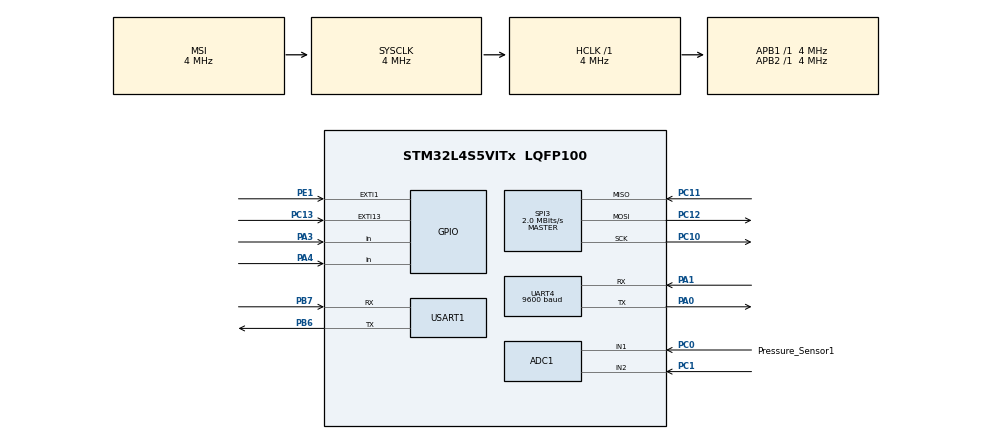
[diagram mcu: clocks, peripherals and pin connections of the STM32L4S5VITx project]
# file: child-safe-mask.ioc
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ADC1.Channel-0\#ChannelRegularConversion=ADC_CHANNEL_1
ADC1.NbrOfConversionFlag=1
ADC1.OffsetNumber-0\#ChannelRegularConversion=ADC_OFFSET_NONE
ADC1.Rank-0\#ChannelRegularConversion=1
ADC1.SamplingTime-0\#ChannelRegularConversion=ADC_SAMPLETIME_2CYCLES_5
ADC1.SingleDiff-0\#ChannelRegularConversion=ADC_DIFFERENTIAL_ENDED
ADC1.master=1
Mcu.Family=STM32L4
Mcu.Name=STM32L4S5VITx
Mcu.Package=LQFP100
NVIC.EXTI15_10_IRQn=true\:0\:0\:false\:false\:true\:true\:true
NVIC.EXTI1_IRQn=true\:0\:0\:false\:false\:true\:true\:true
NVIC.PriorityGroup=NVIC_PRIORITYGROUP_4
NVIC.SPI3_IRQn=true\:0\:0\:false\:false\:true\:true\:true
NVIC.UART4_IRQn=true\:0\:0\:false\:false\:true\:true\:true
PA0.Mode=Asynchronous
PA0.Signal=UART4_TX
PA1.Mode=Asynchronous
PA1.Signal=UART4_RX
PA3.Signal=GPIO_Input
PA4.Signal=GPIO_Input
PB6.Mode=Asynchronous
PB6.Signal=USART1_TX
PB7.Mode=Asynchronous
PB7.Signal=USART1_RX
PC0.GPIO_Label=Pressure_Sensor1
PC0.Signal=SharedAnalog_PC0
PC1.Signal=ADCx_IN2
PC10.Mode=Full_Duplex_Master
PC10.Signal=SPI3_SCK
PC11.Mode=Full_Duplex_Master
PC11.Signal=SPI3_MISO
PC12.Mode=Full_Duplex_Master
PC12.Signal=SPI3_MOSI
PC13.Signal=GPXTI13
PE1.Signal=GPXTI1
ProjectManager.HeapSize=0x200
ProjectManager.StackSize=0x400
ProjectManager.TargetToolchain=STM32CubeIDE
RCC.ADCFreq_Value=32000000
RCC.AHBFreq_Value=4000000
RCC.APB1Freq_Value=4000000
RCC.APB1TimFreq_Value=4000000
RCC.APB2Freq_Value=4000000
RCC.APB2TimFreq_Value=4000000
RCC.CortexFreq_Value=4000000
RCC.HCLKFreq_Value=4000000
RCC.HSE_VALUE=8000000
RCC.HSI48_VALUE=48000000
RCC.HSI_VALUE=16000000
RCC.LSE_VALUE=32768
RCC.MSI_VALUE=4000000
RCC.PLLN=16
RCC.PLLSAI1N=16
RCC.SYSCLKFreq_VALUE=4000000
RCC.USBFreq_Value=32000000
RCC.VCOOutputFreq_Value=64000000
SH.ADCx_IN2.0=ADC1_IN2,IN1-Differential
SH.SharedAnalog_PC0.0=GPIO_Analog
SH.SharedAnalog_PC0.1=ADC1_IN1,IN1-Differential
SPI3.BaudRatePrescaler=SPI_BAUDRATEPRESCALER_2
SPI3.CalculateBaudRate=2.0 MBits/s
SPI3.Direction=SPI_DIRECTION_2LINES
SPI3.Mode=SPI_MODE_MASTER
SPI3.VirtualType=VM_MASTER
UART4.BaudRate=9600
USART1.VirtualMode-Asynchronous=VM_ASYNC
board=custom

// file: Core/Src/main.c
/* USER CODE BEGIN Header */
/**
  ******************************************************************************
  * @file           : main.c
  * @brief          : Main program body
  ******************************************************************************
  * @attention
  *
  * <h2><center>&copy; Copyright (c) 2020 STMicroelectronics.
  * All rights reserved.</center></h2>
  *
  * This software component is licensed by ST under BSD 3-Clause license,
  * the "License"; You may not use this file except in compliance with the
  * License. You may obtain a copy of the License at:
  *                        opensource.org/licenses/BSD-3-Clause
  *
  ******************************************************************************
  */
/* USER CODE END Header */
#include "main.h"

/* USER CODE BEGIN Includes */
#include <stdio.h>
#include <math.h>
#include <string.h>
#include "PMSa003.h"
#include "web_client.h"
#include "user.h"
/* USER CODE END Includes */

/* USER CODE BEGIN PD */
#if !defined (TERMINAL_USE)
#define TERMINAL_USE
#endif

/* USER CODE END PD */

ADC_HandleTypeDef hadc1;

SPI_HandleTypeDef hspi3;

UART_HandleTypeDef huart4;
UART_HandleTypeDef huart1;

/* USER CODE BEGIN PV */
#if defined (TERMINAL_USE)
extern UART_HandleTypeDef hDiscoUart;
#endif /* TERMINAL_USE */
static uint8_t RxData [500];
int btn1=0;
int btn2=0;
/* USER CODE END PV */

void SystemClock_Config(void);
static void MX_GPIO_Init(void);
static void MX_SPI3_Init(void);
static void MX_USART1_UART_Init(void);
static void MX_UART4_Init(void);
static void MX_ADC1_Init(void);
/* USER CODE BEGIN PFP */

int __io_putchar(int ch)
{
	while(HAL_OK!=HAL_UART_Transmit(&huart1,(uint8_t*) &ch,1,30000))
	{
	}
	return ch;
}
int __io_getchar(void)
{
	uint8_t ch=0;
	while(HAL_OK!=HAL_UART_Receive(&huart1,(uint8_t*) &ch,1,30000))
	{
	}
	return ch;
}
//
//#if defined (TERMINAL_USE)
//#ifdef __GNUC__
///* With GCC, small TERMOUT (option LD Linker->Libraries->Small TERMOUT
//   set to 'Yes') calls __io_putchar() */
//#define PUTCHAR_PROTOTYPE int __io_putchar(int ch)
//#else
//#define PUTCHAR_PROTOTYPE int fputc(int ch, FILE *f)
//#endif /* __GNUC__ */
//#endif /* TERMINAL_USE */
/* USER CODE END PFP */

int main(void)
{
  /* USER CODE BEGIN 1 */
  uint8_t * TxData;
  int32_t Socket = -1;
  int32_t ret;
  /* USER CODE END 1 */

  /* MCU Configuration--------------------------------------------------------*/

  /* Reset of all peripherals, Initializes the Flash interface and the Systick. */
  HAL_Init();

  /* Configure the system clock */
  SystemClock_Config();

  /* Initialize all configured peripherals */
  MX_GPIO_Init();
  MX_SPI3_Init();
  MX_USART1_UART_Init();
  MX_UART4_Init();
  MX_ADC1_Init();
  /* USER CODE BEGIN 2 */
  Command_PMSa003("Passive_Mode");
  uint16_t PM10=0;
  uint16_t PM25=0;

#if defined (TERMINAL_USE)
  /* Initialize all configured peripherals */
  hDiscoUart.Instance = DISCOVERY_COM1;
  hDiscoUart.Init.BaudRate = 115200;
  hDiscoUart.Init.WordLength = UART_WORDLENGTH_8B;
  hDiscoUart.Init.StopBits = UART_STOPBITS_1;
  hDiscoUart.Init.Parity = UART_PARITY_NONE;
  hDiscoUart.Init.Mode = UART_MODE_TX_RX;
  hDiscoUart.Init.HwFlowCtl = UART_HWCONTROL_NONE;
  hDiscoUart.Init.OverSampling = UART_OVERSAMPLING_16;
  hDiscoUart.Init.OneBitSampling = UART_ONE_BIT_SAMPLE_DISABLE;
  hDiscoUart.AdvancedInit.AdvFeatureInit = UART_ADVFEATURE_NO_INIT;

  BSP_COM_Init(COM1, &hDiscoUart);

#endif /* TERMINAL_USE */
//  strcpy(TxData, "GET /iot/?thermo=36.5&msk=0 HTTP/1.1\r\nHost: 192.168.0.6:8002\r\nConnection: Close\r\n\r\n");
//  uint8_t TxDataCustom[] = "GET /iot/?thermo=36.5&msk=0 HTTP/1.1\r\nHost: 192.168.0.6:8002\r\nConnection: Close\r\n\r\n";
  uint8_t TxDataCustom[200];

  if (Web_Client_Init() == WEB_CLIENT_STATUS_OK) {
    Socket = 0;
  }
  int mask_wear = false;
  /* USER CODE END 2 */

  /* Infinite loop */
  while (1)
  {

    /* USER CODE BEGIN 3 */

	Command_PMSa003("Passive_Read");
	if(Is_Error()==no_error)
	{
		UpdateData_PM();
		PM10=GetData_PM10();
		PM25=GetData_PM25();
	}
	btn1=HAL_GPIO_ReadPin(GPIOA, GPIO_PIN_3);
	btn2=HAL_GPIO_ReadPin(GPIOA, GPIO_PIN_4);
	mask_wear = btn1||btn2;

	sprintf(TxDataCustom, "GET /iot/?pm2_5=%d&pm10=%d&mask_wear=%d HTTP/1.1\r\nHost: 192.168.0.6:8002\r\nConnection: Close\r\n\r\n", PM25, PM10, mask_wear);
    // pm2_5, pm10, mask_wear, tvoc, co2
    // PM10, PM25, btn1&&btn2

	ret = Web_Visit(Socket, TxDataCustom, sizeof(TxDataCustom));
	if (ret == WEB_CLIENT_STATUS_ERROR)
		break;

	HAL_Delay(5000);
  }
  /* USER CODE END 3 */
}

void SystemClock_Config(void)
{
  RCC_OscInitTypeDef RCC_OscInitStruct = {0};
  RCC_ClkInitTypeDef RCC_ClkInitStruct = {0};
  RCC_PeriphCLKInitTypeDef PeriphClkInit = {0};

  /** Configure the main internal regulator output voltage
  */
  if (HAL_PWREx_ControlVoltageScaling(PWR_REGULATOR_VOLTAGE_SCALE1) != HAL_OK)
  {
    Error_Handler();
  }
  /** Initializes the RCC Oscillators according to the specified parameters
  * in the RCC_OscInitTypeDef structure.
  */
  RCC_OscInitStruct.OscillatorType = RCC_OSCILLATORTYPE_MSI;
  RCC_OscInitStruct.MSIState = RCC_MSI_ON;
  RCC_OscInitStruct.MSICalibrationValue = 0;
  RCC_OscInitStruct.MSIClockRange = RCC_MSIRANGE_6;
  RCC_OscInitStruct.PLL.PLLState = RCC_PLL_NONE;
  if (HAL_RCC_OscConfig(&RCC_OscInitStruct) != HAL_OK)
  {
    Error_Handler();
  }
  /** Initializes the CPU, AHB and APB buses clocks
  */
  RCC_ClkInitStruct.ClockType = RCC_CLOCKTYPE_HCLK|RCC_CLOCKTYPE_SYSCLK
                              |RCC_CLOCKTYPE_PCLK1|RCC_CLOCKTYPE_PCLK2;
  RCC_ClkInitStruct.SYSCLKSource = RCC_SYSCLKSOURCE_MSI;
  RCC_ClkInitStruct.AHBCLKDivider = RCC_SYSCLK_DIV1;
  RCC_ClkInitStruct.APB1CLKDivider = RCC_HCLK_DIV1;
  RCC_ClkInitStruct.APB2CLKDivider = RCC_HCLK_DIV1;

  if (HAL_RCC_ClockConfig(&RCC_ClkInitStruct, FLASH_LATENCY_0) != HAL_OK)
  {
    Error_Handler();
  }
  PeriphClkInit.PeriphClockSelection = RCC_PERIPHCLK_USART1|RCC_PERIPHCLK_UART4
                              |RCC_PERIPHCLK_ADC;
  PeriphClkInit.Usart1ClockSelection = RCC_USART1CLKSOURCE_PCLK2;
  PeriphClkInit.Uart4ClockSelection = RCC_UART4CLKSOURCE_PCLK1;
  PeriphClkInit.AdcClockSelection = RCC_ADCCLKSOURCE_PLLSAI1;
  PeriphClkInit.PLLSAI1.PLLSAI1Source = RCC_PLLSOURCE_MSI;
  PeriphClkInit.PLLSAI1.PLLSAI1M = 1;
  PeriphClkInit.PLLSAI1.PLLSAI1N = 16;
  PeriphClkInit.PLLSAI1.PLLSAI1P = RCC_PLLP_DIV2;
  PeriphClkInit.PLLSAI1.PLLSAI1Q = RCC_PLLQ_DIV2;
  PeriphClkInit.PLLSAI1.PLLSAI1R = RCC_PLLR_DIV2;
  PeriphClkInit.PLLSAI1.PLLSAI1ClockOut = RCC_PLLSAI1_ADC1CLK;
  if (HAL_RCCEx_PeriphCLKConfig(&PeriphClkInit) != HAL_OK)
  {
    Error_Handler();
  }
}

static void MX_ADC1_Init(void)
{

  ADC_ChannelConfTypeDef sConfig = {0};

  /** Common config
  */
  hadc1.Instance = ADC1;
  hadc1.Init.ClockPrescaler = ADC_CLOCK_ASYNC_DIV1;
  hadc1.Init.Resolution = ADC_RESOLUTION_12B;
  hadc1.Init.DataAlign = ADC_DATAALIGN_RIGHT;
  hadc1.Init.ScanConvMode = ADC_SCAN_DISABLE;
  hadc1.Init.EOCSelection = ADC_EOC_SINGLE_CONV;
  hadc1.Init.LowPowerAutoWait = DISABLE;
  hadc1.Init.ContinuousConvMode = DISABLE;
  hadc1.Init.NbrOfConversion = 1;
  hadc1.Init.DiscontinuousConvMode = DISABLE;
  hadc1.Init.ExternalTrigConv = ADC_SOFTWARE_START;
  hadc1.Init.ExternalTrigConvEdge = ADC_EXTERNALTRIGCONVEDGE_NONE;
  hadc1.Init.DMAContinuousRequests = DISABLE;
  hadc1.Init.Overrun = ADC_OVR_DATA_PRESERVED;
  hadc1.Init.OversamplingMode = DISABLE;
  if (HAL_ADC_Init(&hadc1) != HAL_OK)
  {
    Error_Handler();
  }
  /** Configure Regular Channel
  */
  sConfig.Channel = ADC_CHANNEL_1;
  sConfig.Rank = ADC_REGULAR_RANK_1;
  sConfig.SamplingTime = ADC_SAMPLETIME_2CYCLES_5;
  sConfig.SingleDiff = ADC_DIFFERENTIAL_ENDED;
  sConfig.OffsetNumber = ADC_OFFSET_NONE;
  sConfig.Offset = 0;
  if (HAL_ADC_ConfigChannel(&hadc1, &sConfig) != HAL_OK)
  {
    Error_Handler();
  }

}

static void MX_SPI3_Init(void)
{

  /* SPI3 parameter configuration*/
  hspi3.Instance = SPI3;
  hspi3.Init.Mode = SPI_MODE_MASTER;
  hspi3.Init.Direction = SPI_DIRECTION_2LINES;
  hspi3.Init.DataSize = SPI_DATASIZE_4BIT;
  hspi3.Init.CLKPolarity = SPI_POLARITY_LOW;
  hspi3.Init.CLKPhase = SPI_PHASE_1EDGE;
  hspi3.Init.NSS = SPI_NSS_SOFT;
  hspi3.Init.BaudRatePrescaler = SPI_BAUDRATEPRESCALER_2;
  hspi3.Init.FirstBit = SPI_FIRSTBIT_MSB;
  hspi3.Init.TIMode = SPI_TIMODE_DISABLE;
  hspi3.Init.CRCCalculation = SPI_CRCCALCULATION_DISABLE;
  hspi3.Init.CRCPolynomial = 7;
  hspi3.Init.CRCLength = SPI_CRC_LENGTH_DATASIZE;
  hspi3.Init.NSSPMode = SPI_NSS_PULSE_ENABLE;
  if (HAL_SPI_Init(&hspi3) != HAL_OK)
  {
    Error_Handler();
  }

}

static void MX_UART4_Init(void)
{

  huart4.Instance = UART4;
  huart4.Init.BaudRate = 9600;
  huart4.Init.WordLength = UART_WORDLENGTH_8B;
  huart4.Init.StopBits = UART_STOPBITS_1;
  huart4.Init.Parity = UART_PARITY_NONE;
  huart4.Init.Mode = UART_MODE_TX_RX;
  huart4.Init.HwFlowCtl = UART_HWCONTROL_NONE;
  huart4.Init.OverSampling = UART_OVERSAMPLING_16;
  huart4.Init.OneBitSampling = UART_ONE_BIT_SAMPLE_DISABLE;
  huart4.Init.ClockPrescaler = UART_PRESCALER_DIV1;
  huart4.AdvancedInit.AdvFeatureInit = UART_ADVFEATURE_NO_INIT;
  if (HAL_UART_Init(&huart4) != HAL_OK)
  {
    Error_Handler();
  }
  if (HAL_UARTEx_SetTxFifoThreshold(&huart4, UART_TXFIFO_THRESHOLD_1_8) != HAL_OK)
  {
    Error_Handler();
  }
  if (HAL_UARTEx_SetRxFifoThreshold(&huart4, UART_RXFIFO_THRESHOLD_1_8) != HAL_OK)
  {
    Error_Handler();
  }
  if (HAL_UARTEx_DisableFifoMode(&huart4) != HAL_OK)
  {
    Error_Handler();
  }

}

static void MX_USART1_UART_Init(void)
{

  huart1.Instance = USART1;
  huart1.Init.BaudRate = 115200;
  huart1.Init.WordLength = UART_WORDLENGTH_8B;
  huart1.Init.StopBits = UART_STOPBITS_1;
  huart1.Init.Parity = UART_PARITY_NONE;
  huart1.Init.Mode = UART_MODE_TX_RX;
  huart1.Init.HwFlowCtl = UART_HWCONTROL_NONE;
  huart1.Init.OverSampling = UART_OVERSAMPLING_16;
  huart1.Init.OneBitSampling = UART_ONE_BIT_SAMPLE_DISABLE;
  huart1.Init.ClockPrescaler = UART_PRESCALER_DIV1;
  huart1.AdvancedInit.AdvFeatureInit = UART_ADVFEATURE_NO_INIT;
  if (HAL_UART_Init(&huart1) != HAL_OK)
  {
    Error_Handler();
  }
  if (HAL_UARTEx_SetTxFifoThreshold(&huart1, UART_TXFIFO_THRESHOLD_1_8) != HAL_OK)
  {
    Error_Handler();
  }
  if (HAL_UARTEx_SetRxFifoThreshold(&huart1, UART_RXFIFO_THRESHOLD_1_8) != HAL_OK)
  {
    Error_Handler();
  }
  if (HAL_UARTEx_DisableFifoMode(&huart1) != HAL_OK)
  {
    Error_Handler();
  }

}

static void MX_GPIO_Init(void)
{
  GPIO_InitTypeDef GPIO_InitStruct = {0};

  /* GPIO Ports Clock Enable */
  __HAL_RCC_GPIOC_CLK_ENABLE();
  __HAL_RCC_GPIOA_CLK_ENABLE();
  __HAL_RCC_GPIOB_CLK_ENABLE();
  __HAL_RCC_GPIOE_CLK_ENABLE();

  /*Configure GPIO pin : PC13 */
  GPIO_InitStruct.Pin = GPIO_PIN_13;
  GPIO_InitStruct.Mode = GPIO_MODE_IT_RISING;
  GPIO_InitStruct.Pull = GPIO_NOPULL;
  HAL_GPIO_Init(GPIOC, &GPIO_InitStruct);

  /*Configure GPIO pins : PA3 PA4 */
  GPIO_InitStruct.Pin = GPIO_PIN_3|GPIO_PIN_4;
  GPIO_InitStruct.Mode = GPIO_MODE_INPUT;
  GPIO_InitStruct.Pull = GPIO_NOPULL;
  HAL_GPIO_Init(GPIOA, &GPIO_InitStruct);

  /*Configure GPIO pin : PE1 */
  GPIO_InitStruct.Pin = GPIO_PIN_1;
  GPIO_InitStruct.Mode = GPIO_MODE_IT_RISING;
  GPIO_InitStruct.Pull = GPIO_NOPULL;
  HAL_GPIO_Init(GPIOE, &GPIO_InitStruct);

  /* EXTI interrupt init*/
  HAL_NVIC_SetPriority(EXTI1_IRQn, 0, 0);
  HAL_NVIC_EnableIRQ(EXTI1_IRQn);

  HAL_NVIC_SetPriority(EXTI15_10_IRQn, 0, 0);
  HAL_NVIC_EnableIRQ(EXTI15_10_IRQn);

}

/* USER CODE BEGIN 4 */
//
//#if defined (TERMINAL_USE)
///**
//  * @brief  Retargets the C library TERMOUT function to the USART.
//  * @param  None
//  * @retval None
//  */
//PUTCHAR_PROTOTYPE
//{
//  /* Place your implementation of fputc here */
//  /* e.g. write a character to the USART1 and Loop until the end of transmission */
//  HAL_UART_Transmit(&hDiscoUart, (uint8_t *)&ch, 1, 0xFFFF);
//
//  return ch;
//}
//#endif /* TERMINAL_USE */

/**
  * @brief  EXTI line detection callback.
  * @param  GPIO_Pin: Specifies the port pin connected to corresponding EXTI line.
  * @retval None
  */
void HAL_GPIO_EXTI_Callback(uint16_t GPIO_Pin) // I put it
{
  switch (GPIO_Pin)
  {
    case (GPIO_PIN_1):
    {
      SPI_WIFI_ISR();
      break;
    }
    default:
    {
      break;
    }
  }
}

/* USER CODE END 4 */

void Error_Handler(void)
{
  __disable_irq();
  while (1)
  {
  }
}

/************************ (C) COPYRIGHT STMicroelectronics *****END OF FILE****/
